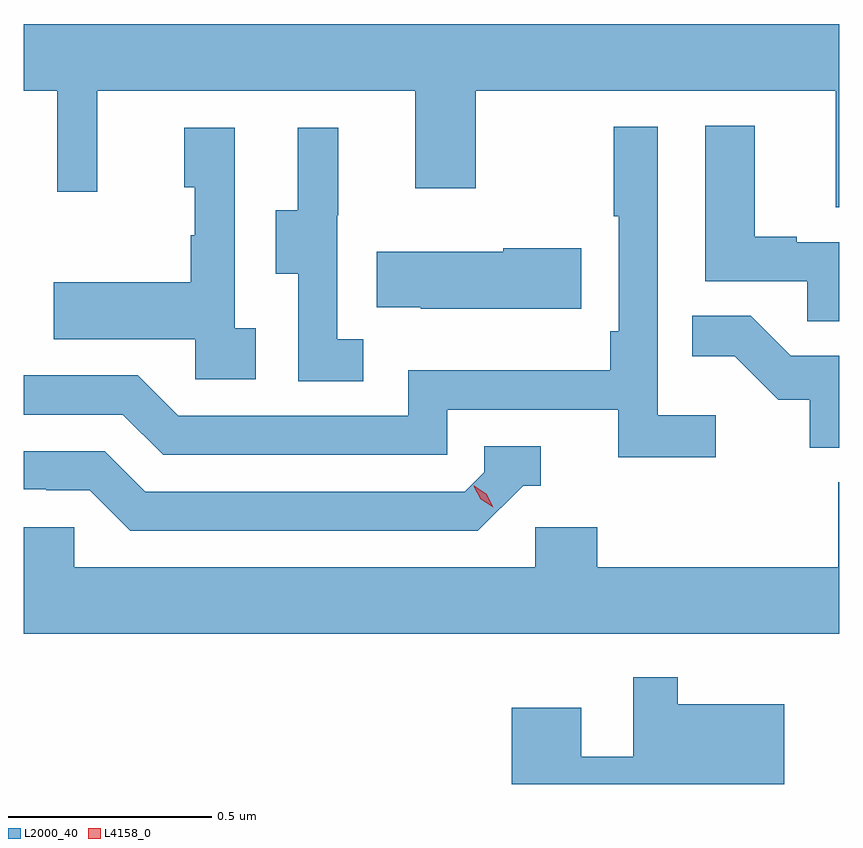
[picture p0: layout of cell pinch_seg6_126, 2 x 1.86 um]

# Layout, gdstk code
import gdstk
lib = gdstk.Library(unit=1e-6, precision=1e-09)
def P(c, l, *ps):  # polygons
    for p in ps: c.add(gdstk.Polygon(p, *l))
L2000_40 = (2000, 40)
L4158_0 = (4158, 0)

pinch_seg6_126 = lib.new_cell('pinch_seg6_126')
P(pinch_seg6_126, L2000_40, [(962.449,934.18),(960.449,934.18),(960.449,934.016),(960.531,934.016),(960.531,933.768),(960.629,933.768),(960.629,934.016),(961.409,934.016),(961.409,933.777),(961.557,933.777),(961.557,934.016),(962.441,934.016),(962.441,933.73),(962.449,933.73)],
  [(962.449,933.645),(962.345,933.645),(962.345,933.658),(962.242,933.658),(962.242,933.931),(962.12,933.931),(962.12,933.549),(962.371,933.549),(962.371,933.451),(962.449,933.451)],
  [(962.146,933.22),(962.004,933.22),(962.004,933.928),(961.896,933.928),(961.896,933.709),(961.908,933.709),(961.908,933.427),(961.888,933.427),(961.888,933.331),(961.392,933.331),(961.392,933.219),(960.828,933.219),(960.729,933.318),(960.449,933.318),(960.449,933.222),(960.692,933.222),(960.791,933.123),(961.488,933.123),(961.488,933.234),(961.907,933.234),(961.907,933.118),(962.146,933.118)],
  [(961.018,933.434),(960.966,933.434),(960.966,933.925),(960.842,933.925),(960.842,933.78),(960.868,933.78),(960.868,933.662),(960.858,933.662),(960.858,933.547),(960.523,933.547),(960.523,933.407),(960.87,933.407),(960.87,933.309),(961.018,933.309)],
  [(961.282,933.407),(961.218,933.407),(961.218,933.711),(961.22,933.711),(961.22,933.925),(961.121,933.925),(961.121,933.723),(961.067,933.723),(961.067,933.568),(961.122,933.568),(961.122,933.304),(961.282,933.304)],
  [(961.816,933.63),(961.625,933.63),(961.625,933.622),(961.315,933.622),(961.315,933.485),(961.423,933.485),(961.423,933.482),(961.816,933.482)],
  [(962.449,933.366),(962.33,933.366),(962.232,933.464),(962.089,933.464),(962.089,933.365),(962.193,933.365),(962.3,933.258),(962.377,933.258),(962.377,933.141),(962.449,933.141)],
  [(961.674,933.048),(961.717,933.048),(961.717,933.144),(961.578,933.144),(961.578,933.081),(961.53,933.033),(960.747,933.033),(960.648,933.132),(960.449,933.132),(960.449,933.039),(960.504,933.039),(960.504,933.036),(960.611,933.036),(960.71,932.937),(961.563,932.937)],
  [(962.449,933.056),(962.447,933.056),(962.447,932.848),(961.856,932.848),(961.856,932.946),(961.704,932.946),(961.704,932.848),(960.573,932.848),(960.573,932.946),(960.449,932.946),(960.449,932.684),(962.449,932.684)],
  [(962.314,932.512),(962.053,932.512),(962.053,932.578),(961.944,932.578),(961.944,932.383),(961.816,932.383),(961.816,932.503),(961.646,932.503),(961.646,932.316),(962.314,932.316)])
P(pinch_seg6_126, L4158_0, [(961.601,932.995),(961.57,933.014),(961.553,933.046),(961.553,933.047),(961.554,933.047),(961.584,933.027),(961.601,932.995),(961.601,932.995)])

lib.write_gds('pinch_seg6_126.gds')
